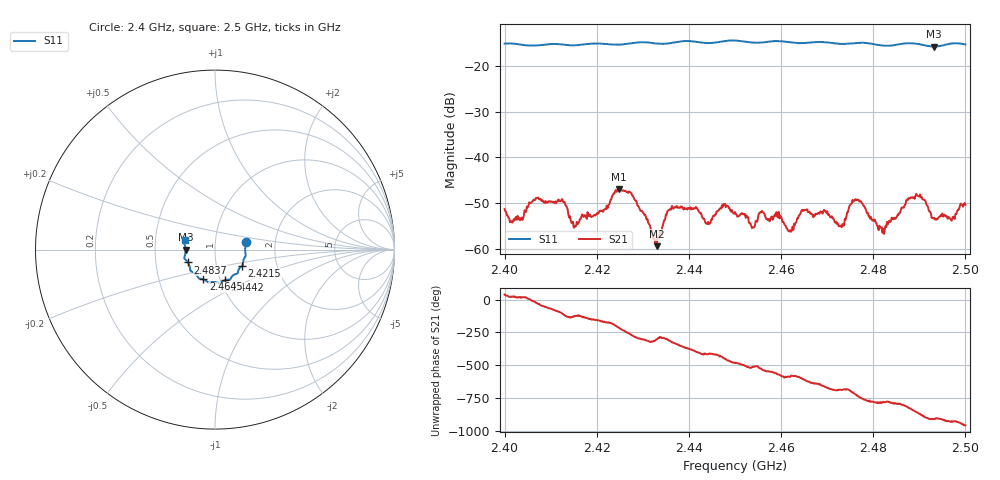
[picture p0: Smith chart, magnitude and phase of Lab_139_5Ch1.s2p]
# Hz S RI R 50
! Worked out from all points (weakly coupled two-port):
!   601 points, 2.4 GHz to 2.5 GHz, reference 50 ohm
!   highest |S21| = -46.87 dB at 2.4248 GHz (marker M1); lowest = -59.4 dB at 2.433 GHz (marker M2)
!   lowest |S11| = -15.7 dB at 2.4932 GHz (marker M3), VSWR 1.39, Z = 35.9 - j0.0495 ohm
!   |S11| at or under -10 dB: start of sweep to end of sweep
!   S12 and S22 are empty: the file has one direction only
!   S11 on the Smith chart (normalised r, x): 2.4 GHz: 1.41, +0.12; 2.4215 GHz: 1.33, -0.25; 2.4442 GHz: 1.05, -0.37; 2.4645 GHz: 0.83, -0.29; 2.4837 GHz: 0.73, -0.11; 2.5 GHz: 0.71, +0.07
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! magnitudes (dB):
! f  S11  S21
! 2.4 GHz  -15.1  -51.3
! 2.4035 GHz  -15.3  -53.3
! 2.4073 GHz  -15.5  -48.8
! 2.4167 GHz  -15.3  -53.0
! 2.4215 GHz  -15.1  -51.6
! 2.4248 GHz  -15.3  -46.9
! 2.4275 GHz  -15.0  -47.8
! 2.433 GHz  -15.1  -59.4
! 2.4333 GHz  -15.1  -57.3
! 2.4368 GHz  -14.8  -50.9
! 2.4442 GHz  -15.0  -54.1
! 2.45 GHz  -14.4  -51.9
! 2.4618 GHz  -14.8  -56.2
! 2.4645 GHz  -15.0  -51.5
! 2.4667 GHz  -14.8  -52.4
! 2.4732 GHz  -15.1  -55.3
! 2.4765 GHz  -14.9  -49.2
! 2.4833 GHz  -15.6  -54.1
! 2.4837 GHz  -15.5  -54.1
! 2.4897 GHz  -15.1  -48.4
! 2.4932 GHz  -15.7  -53.2
! 2.5 GHz  -15.3  -50.4
